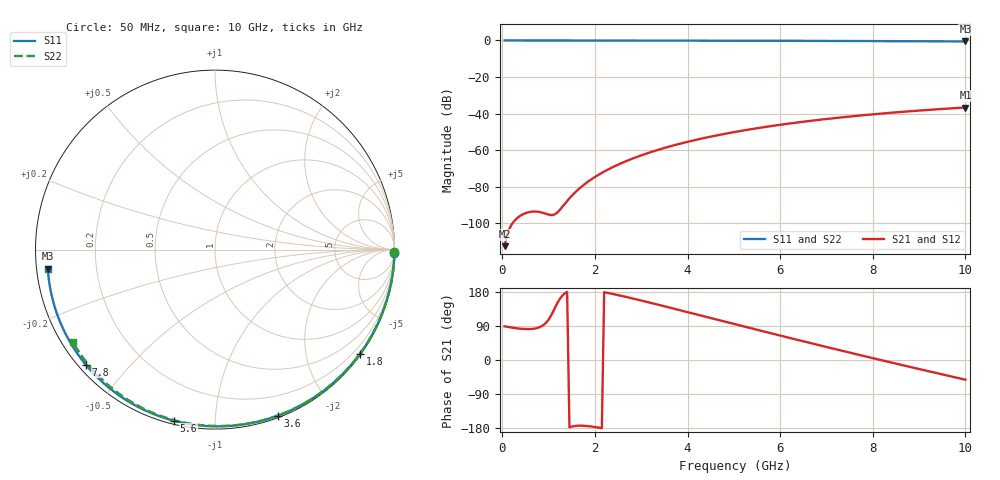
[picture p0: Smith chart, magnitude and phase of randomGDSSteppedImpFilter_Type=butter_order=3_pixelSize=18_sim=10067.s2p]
! freq	dB(S11)	phase(S11)	dB(S12)	phase(S12)
!  dB(S21)	phase(S21)	dB(S22)	phase(S22)
!S-par simulation data
#  GHz  S  DB  R 50
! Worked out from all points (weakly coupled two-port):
!   200 points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, 50 MHz to 10 GHz, reference 50 ohm
!   highest |S21| = -36.71 dB at 10 GHz (marker M1); lowest = -112.6 dB at 50 MHz (marker M2)
!   lowest |S11| = -0.6 dB at 10 GHz (marker M3), VSWR 31.02, Z = 1.62 - j2.83 ohm
!   |S11| at or under -10 dB: nowhere
!   |S22| runs from -0.5 to 0.0 dB; largest |S21 - S12| = 0
!   S11 on the Smith chart (normalised r, x): 50 MHz: open; 1.8 GHz: 0.03, -3.10; 3.6 GHz: 0.02, -1.45; 5.6 GHz: 0.02, -0.79; 7.8 GHz: 0.02, -0.38; 10 GHz: 0.03, -0.06
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0.05  -0.00 -1.0  -112.62 88.8  -112.62 88.8  -0.00 -0.9
0.45  -0.01 -9.1  -95.10 82.0  -95.10 82.0  -0.01 -7.7
0.85  -0.02 -17.1  -94.16 89.2  -94.16 89.2  -0.02 -14.4
1.25  -0.03 -25.0  -92.54 162.6  -92.54 162.6  -0.03 -21.1
1.7  -0.04 -33.8  -80.28 -173.3  -80.28 -173.3  -0.04 -28.6
1.75  -0.04 -34.8  -79.25 -173.5  -79.25 -173.5  -0.04 -29.4
1.8  -0.05 -35.7  -78.26 -173.9  -78.26 -173.9  -0.04 -30.2
2.1  -0.05 -41.5  -73.21 -178.9  -73.21 -178.9  -0.04 -35.1
2.3  -0.06 -45.3  -70.43 176.5  -70.43 176.5  -0.05 -38.4
2.5  -0.06 -49.1  -67.98 171.3  -67.98 171.3  -0.05 -41.6
2.9  -0.07 -56.6  -63.82 159.9  -63.82 159.9  -0.06 -48.0
3.4  -0.09 -65.7  -59.60 144.9  -59.60 144.9  -0.07 -55.8
3.6  -0.09 -69.3  -58.13 138.7  -58.13 138.7  -0.08 -58.9
4.3  -0.12 -81.6  -53.74 117.0  -53.74 117.0  -0.10 -69.6
5.05  -0.14 -94.4  -49.97 93.7  -49.97 93.7  -0.12 -80.6
5.6  -0.17 -103.5  -47.66 76.8  -47.66 76.8  -0.15 -88.4
6.15  -0.20 -112.4  -45.65 59.9  -45.65 59.9  -0.17 -96.1
6.7  -0.23 -121.1  -43.87 43.3  -43.87 43.3  -0.20 -103.7
7.8  -0.32 -138.3  -40.91 10.7  -40.91 10.7  -0.28 -118.3
8.35  -0.37 -147.0  -39.67 -5.3  -39.67 -5.3  -0.32 -125.5
9.2  -0.46 -160.4  -38.01 -29.6  -38.01 -29.6  -0.40 -136.5
10  -0.56 -173.5  -36.71 -52.0  -36.71 -52.0  -0.50 -146.9
